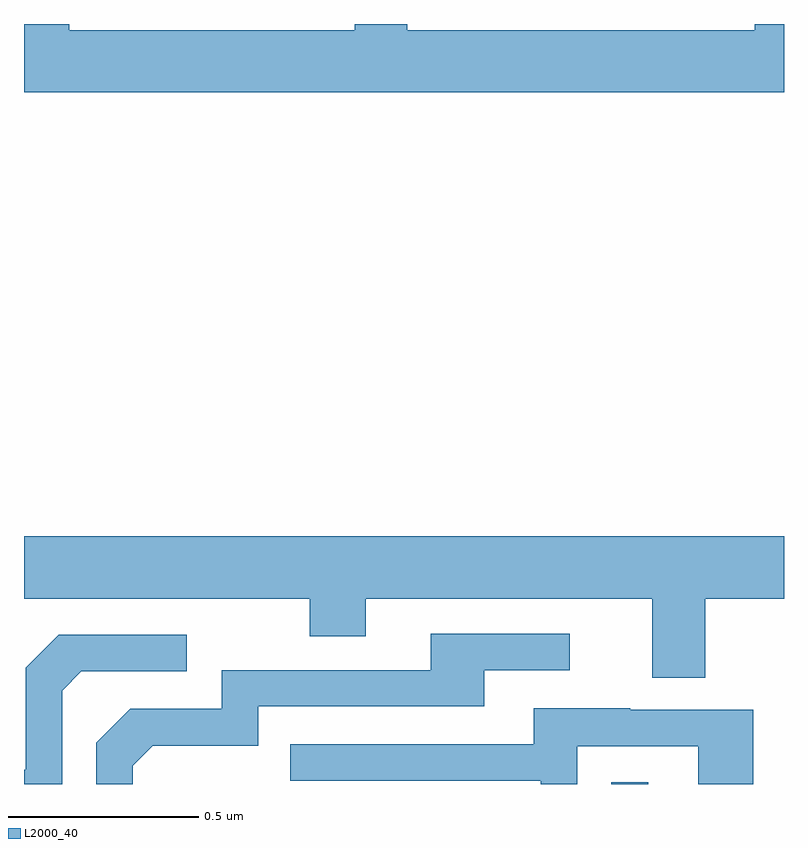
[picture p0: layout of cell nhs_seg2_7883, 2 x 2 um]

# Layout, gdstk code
import gdstk
lib = gdstk.Library(unit=1e-6, precision=1e-09)
def R(c, l, rs):  # rectangles x0, y0, x1, y1
    for r in rs: c.add(gdstk.rectangle(r[:2], r[2:], *l))
def P(c, l, *ps):  # polygons
    for p in ps: c.add(gdstk.Polygon(p, *l))
L2000_40 = (2000, 40)

nhs_seg2_7883 = lib.new_cell('nhs_seg2_7883')
R(nhs_seg2_7883, L2000_40, [(210.546,661.8,210.643,661.804)])
P(nhs_seg2_7883, L2000_40, [(211,663.8),(210.923,663.8),(210.923,663.784),(210.009,663.784),(210.009,663.8),(209.871,663.8),(209.871,663.784),(209.119,663.784),(209.119,663.8),(209,663.8),(209,663.62),(211,663.62)],
  [(209,662.288),(209.752,662.288),(209.752,662.189),(209.899,662.189),(209.899,662.288),(210.653,662.288),(210.653,662.08),(210.793,662.08),(210.793,662.288),(211,662.288),(211,662.452),(209,662.452)],
  [(209.286,661.848),(209.339,661.901),(209.616,661.901),(209.616,662.004),(210.211,662.004),(210.211,662.1),(210.436,662.1),(210.436,662.196),(210.071,662.196),(210.071,662.1),(209.52,662.1),(209.52,661.998),(209.28,661.998),(209.19,661.908),(209.19,661.8),(209.286,661.8)],
  [(209.1,662.046),(209.151,662.097),(209.428,662.097),(209.428,662.193),(209.091,662.193),(209.004,662.106),(209.004,661.837),(209,661.837),(209,661.8),(209.1,661.8)],
  [(210.456,661.899),(210.774,661.899),(210.774,661.8),(210.919,661.8),(210.919,661.995),(210.595,661.995),(210.595,661.999),(210.341,661.999),(210.341,661.905),(209.701,661.905),(209.701,661.809),(210.36,661.809),(210.36,661.8),(210.456,661.8)])

lib.write_gds('nhs_seg2_7883.gds')
